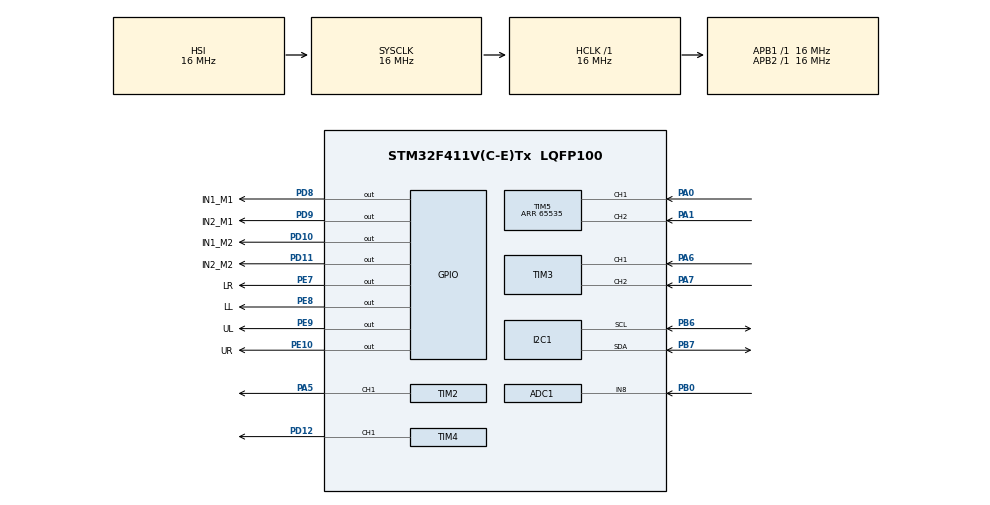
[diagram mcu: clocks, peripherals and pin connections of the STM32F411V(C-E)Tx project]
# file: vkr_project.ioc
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ADC1.Channel-3\#ChannelRegularConversion=ADC_CHANNEL_8
ADC1.NbrOfConversionFlag=1
ADC1.Rank-3\#ChannelRegularConversion=1
ADC1.SamplingTime-3\#ChannelRegularConversion=ADC_SAMPLETIME_3CYCLES
ADC1.master=1
Mcu.Family=STM32F4
Mcu.Name=STM32F411V(C-E)Tx
Mcu.Package=LQFP100
NVIC.PriorityGroup=NVIC_PRIORITYGROUP_4
NVIC.TIM1_UP_TIM10_IRQn=true\:0\:0\:false\:false\:true\:true\:true\:true
PA0-WKUP.Signal=S_TIM5_CH1
PA1.Signal=S_TIM5_CH2
PA13.Mode=Serial_Wire
PA13.Signal=SYS_JTMS-SWDIO
PA14.Mode=Serial_Wire
PA14.Signal=SYS_JTCK-SWCLK
PA5.Signal=S_TIM2_CH1_ETR
PA6.Signal=S_TIM3_CH1
PA7.Signal=S_TIM3_CH2
PB0.Signal=ADCx_IN8
PB6.Mode=I2C
PB6.Signal=I2C1_SCL
PB7.Mode=I2C
PB7.Signal=I2C1_SDA
PD10.GPIO_Label=IN1_M2
PD10.Signal=GPIO_Output
PD11.GPIO_Label=IN2_M2
PD11.Signal=GPIO_Output
PD12.Signal=S_TIM4_CH1
PD8.GPIO_Label=IN1_M1
PD8.Signal=GPIO_Output
PD9.GPIO_Label=IN2_M1
PD9.Signal=GPIO_Output
PE10.GPIO_Label=UR
PE10.Signal=GPIO_Output
PE7.GPIO_Label=LR
PE7.Signal=GPIO_Output
PE8.GPIO_Label=LL
PE8.Signal=GPIO_Output
PE9.GPIO_Label=UL
PE9.Signal=GPIO_Output
PH0\ -\ OSC_IN.Mode=HSE-External-Oscillator
PH0\ -\ OSC_IN.Signal=RCC_OSC_IN
PH1\ -\ OSC_OUT.Mode=HSE-External-Oscillator
PH1\ -\ OSC_OUT.Signal=RCC_OSC_OUT
ProjectManager.HeapSize=0x200
ProjectManager.StackSize=0x400
ProjectManager.TargetToolchain=STM32CubeIDE
RCC.AHBFreq_Value=16000000
RCC.APB1Freq_Value=16000000
RCC.APB2Freq_Value=16000000
RCC.CortexFreq_Value=16000000
RCC.HSE_VALUE=25000000
RCC.HSI_VALUE=16000000
RCC.LSE_VALUE=32768
RCC.SYSCLKFreq_VALUE=16000000
RCC.VCOOutputFreq_Value=192000000
SH.ADCx_IN8.0=ADC1_IN8,IN8
SH.S_TIM2_CH1_ETR.0=TIM2_CH1,PWM Generation1 CH1
SH.S_TIM3_CH1.0=TIM3_CH1,Encoder_Interface
SH.S_TIM3_CH2.0=TIM3_CH2,Encoder_Interface
SH.S_TIM4_CH1.0=TIM4_CH1,PWM Generation1 CH1
SH.S_TIM5_CH1.0=TIM5_CH1,Encoder_Interface
SH.S_TIM5_CH2.0=TIM5_CH2,Encoder_Interface
TIM1.Channel-Output\ Compare1\ No\ Output=TIM_CHANNEL_1
TIM1.Period=1599
TIM1.Prescaler=999
TIM2.Channel-PWM\ Generation1\ CH1=TIM_CHANNEL_1
TIM2.Period=799
TIM3.EncoderMode=TIM_ENCODERMODE_TI12
TIM4.Channel-PWM\ Generation1\ CH1=TIM_CHANNEL_1
TIM4.Period=799
TIM5.EncoderMode=TIM_ENCODERMODE_TI12
TIM5.Period=65535
VP_TIM1_VS_ClockSourceINT.Mode=Internal
VP_TIM1_VS_no_output1.Mode=Output Compare1 No Output
board=custom

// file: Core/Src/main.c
/* USER CODE BEGIN Header */
/**
  ******************************************************************************
  * @file           : main.c
  * @brief          : Main program body
  ******************************************************************************
  * @attention
  *
  * Copyright (c) 2025 STMicroelectronics.
  * All rights reserved.
  *
  * This software is licensed under terms that can be found in the LICENSE file
  * in the root directory of this software component.
  * If no LICENSE file comes with this software, it is provided AS-IS.
  *
  ******************************************************************************
  */
/* USER CODE END Header */
#include "main.h"

/* USER CODE BEGIN Includes */
#include "mpu6500.h"
#include "touch_5wire.h"
#include "Motor_Control.h"
/* USER CODE END Includes */

ADC_HandleTypeDef hadc1;

I2C_HandleTypeDef hi2c1;

TIM_HandleTypeDef htim1;
TIM_HandleTypeDef htim2;
TIM_HandleTypeDef htim3;
TIM_HandleTypeDef htim4;
TIM_HandleTypeDef htim5;

/* USER CODE BEGIN PV */

volatile int32_t x_goal, y_goal;
volatile int32_t err_x = 0, err_y = 0;
volatile int32_t err_alpha = 0, err_beta = 0;
volatile int32_t pos_control_signal_x, pos_control_signal_y, ang_control_signal_alpha, ang_control_signal_beta;
volatile float int_pos_x = 0, int_pos_y = 0, int_ang_alpha = 0, int_ang_beta = 0;

//Variable MPU
MPU6500_t mpu;
volatile float pitch, roll, yaw;
float alpha = 0.94;
float dt = 0.1;
volatile uint8_t state = 0;

//Variable touch screen
TOUCH_5WIRE_t Ts;
volatile uint8_t state_touch;
volatile int32_t position_x = 0, position_y = 0;

uint16_t length = 248;
uint16_t width = 186;
uint16_t min_adc_x = 1168;
uint16_t max_adc_x = 2933;
uint16_t min_adc_y = 1208;
uint16_t max_adc_y = 2985;

Motor_t Motor_1, Motor_2;
/* USER CODE END PV */

void SystemClock_Config(void);
static void MX_GPIO_Init(void);
static void MX_I2C1_Init(void);
static void MX_TIM1_Init(void);
static void MX_ADC1_Init(void);
static void MX_TIM2_Init(void);
static void MX_TIM3_Init(void);
static void MX_TIM4_Init(void);
static void MX_TIM5_Init(void);
/* USER CODE BEGIN PFP */
float PID_regulator(float err_n, float err_o, float int_var, float Kp, float Ki, float Kd, float dt);
/* USER CODE END PFP */

/* USER CODE BEGIN 0 */
float PID_regulator(float err_n, float err_o, float int_var, float Kp, float Ki, float Kd, float dt){
	float P = err_n*Kp;
	float D = Kd*(err_n - err_o)/dt;
	int_var += Ki*err_n*dt;
	err_o = err_n;
	return P + int_var + D;
}

/* USER CODE END 0 */

int main(void)
{

  /* MCU Configuration--------------------------------------------------------*/

  /* Reset of all peripherals, Initializes the Flash interface and the Systick. */
  HAL_Init();

  /* Configure the system clock */
  SystemClock_Config();

  /* Initialize all configured peripherals */
  MX_GPIO_Init();
  MX_I2C1_Init();
  MX_TIM1_Init();
  MX_ADC1_Init();
  MX_TIM2_Init();
  MX_TIM3_Init();
  MX_TIM4_Init();
  MX_TIM5_Init();
  /* USER CODE BEGIN 2 */
//Configure DC MOTOR A, B
 //A:
  HAL_TIM_PWM_Start(&htim2, TIM_CHANNEL_1);
  HAL_TIM_Encoder_Start(&htim3, TIM_CHANNEL_ALL);
//B:
  HAL_TIM_PWM_Start(&htim4, TIM_CHANNEL_1);
  HAL_TIM_Encoder_Start(&htim5, TIM_CHANNEL_ALL);

  //Initialize Motors
  Motor_Init(&Motor_1,
		  GPIOD, IN1_M1_Pin,
		  GPIOD, IN2_M1_Pin,
		  &htim2, TIM_CHANNEL_1,
		  &htim3);

  Motor_Init(&Motor_2,
		  GPIOD, IN1_M2_Pin,
		  GPIOD, IN2_M2_Pin,
		  &htim4, TIM_CHANNEL_1,
		  &htim5);

//Initialize touch screen
  touch_5wire_init(&Ts,
		  &hadc1, ADC_CHANNEL_8,
		  GPIOB, GPIO_PIN_0,
		  GPIOE, LR_Pin,
		  GPIOE, LL_Pin,
		  GPIOE, UR_Pin,
		  GPIOE, UL_Pin);

  Stop(&Motor_1);
  Stop(&Motor_2);
//Initialize MPU sensor
  HAL_TIM_Base_Start_IT(&htim1);
  MPU6500_Init(&hi2c1);
  MPU6500_Calibrate(&hi2c1, &mpu, 1000);
  HAL_Delay(1000);
  /* USER CODE END 2 */

  /* Infinite loop */
  /* USER CODE BEGIN WHILE */
  while (1)
  {
	  MPU6500_Read_Data(&hi2c1, &mpu);
	  state_touch = touch_detect(&Ts);
	  if (state_touch == 1){
		  set_to_adc(&Ts);
//		  HAL_Delay(10);
		  position_x = get_position_x(&Ts, min_adc_x, max_adc_x, length);
		  position_y = get_position_y(&Ts, min_adc_y, max_adc_y, width);
	  }
	  //Control motor
	  Control_Motor(&Motor_1, ang_control_signal_alpha);
	  Control_Motor(&Motor_2, ang_control_signal_beta);

    /* USER CODE END WHILE */

  }
}

void SystemClock_Config(void)
{
  RCC_OscInitTypeDef RCC_OscInitStruct = {0};
  RCC_ClkInitTypeDef RCC_ClkInitStruct = {0};

  /** Configure the main internal regulator output voltage
  */
  __HAL_RCC_PWR_CLK_ENABLE();
  __HAL_PWR_VOLTAGESCALING_CONFIG(PWR_REGULATOR_VOLTAGE_SCALE1);

  /** Initializes the RCC Oscillators according to the specified parameters
  * in the RCC_OscInitTypeDef structure.
  */
  RCC_OscInitStruct.OscillatorType = RCC_OSCILLATORTYPE_HSI;
  RCC_OscInitStruct.HSIState = RCC_HSI_ON;
  RCC_OscInitStruct.HSICalibrationValue = RCC_HSICALIBRATION_DEFAULT;
  RCC_OscInitStruct.PLL.PLLState = RCC_PLL_NONE;
  if (HAL_RCC_OscConfig(&RCC_OscInitStruct) != HAL_OK)
  {
    Error_Handler();
  }

  /** Initializes the CPU, AHB and APB buses clocks
  */
  RCC_ClkInitStruct.ClockType = RCC_CLOCKTYPE_HCLK|RCC_CLOCKTYPE_SYSCLK
                              |RCC_CLOCKTYPE_PCLK1|RCC_CLOCKTYPE_PCLK2;
  RCC_ClkInitStruct.SYSCLKSource = RCC_SYSCLKSOURCE_HSI;
  RCC_ClkInitStruct.AHBCLKDivider = RCC_SYSCLK_DIV1;
  RCC_ClkInitStruct.APB1CLKDivider = RCC_HCLK_DIV1;
  RCC_ClkInitStruct.APB2CLKDivider = RCC_HCLK_DIV1;

  if (HAL_RCC_ClockConfig(&RCC_ClkInitStruct, FLASH_LATENCY_0) != HAL_OK)
  {
    Error_Handler();
  }
}

static void MX_ADC1_Init(void)
{

  ADC_ChannelConfTypeDef sConfig = {0};

  /** Configure the global features of the ADC (Clock, Resolution, Data Alignment and number of conversion)
  */
  hadc1.Instance = ADC1;
  hadc1.Init.ClockPrescaler = ADC_CLOCK_SYNC_PCLK_DIV2;
  hadc1.Init.Resolution = ADC_RESOLUTION_12B;
  hadc1.Init.ScanConvMode = DISABLE;
  hadc1.Init.ContinuousConvMode = DISABLE;
  hadc1.Init.DiscontinuousConvMode = DISABLE;
  hadc1.Init.ExternalTrigConvEdge = ADC_EXTERNALTRIGCONVEDGE_NONE;
  hadc1.Init.ExternalTrigConv = ADC_SOFTWARE_START;
  hadc1.Init.DataAlign = ADC_DATAALIGN_RIGHT;
  hadc1.Init.NbrOfConversion = 1;
  hadc1.Init.DMAContinuousRequests = DISABLE;
  hadc1.Init.EOCSelection = ADC_EOC_SINGLE_CONV;
  if (HAL_ADC_Init(&hadc1) != HAL_OK)
  {
    Error_Handler();
  }

  /** Configure for the selected ADC regular channel its corresponding rank in the sequencer and its sample time.
  */
  sConfig.Channel = ADC_CHANNEL_8;
  sConfig.Rank = 1;
  sConfig.SamplingTime = ADC_SAMPLETIME_3CYCLES;
  if (HAL_ADC_ConfigChannel(&hadc1, &sConfig) != HAL_OK)
  {
    Error_Handler();
  }

}

static void MX_I2C1_Init(void)
{

  hi2c1.Instance = I2C1;
  hi2c1.Init.ClockSpeed = 100000;
  hi2c1.Init.DutyCycle = I2C_DUTYCYCLE_2;
  hi2c1.Init.OwnAddress1 = 0;
  hi2c1.Init.AddressingMode = I2C_ADDRESSINGMODE_7BIT;
  hi2c1.Init.DualAddressMode = I2C_DUALADDRESS_DISABLE;
  hi2c1.Init.OwnAddress2 = 0;
  hi2c1.Init.GeneralCallMode = I2C_GENERALCALL_DISABLE;
  hi2c1.Init.NoStretchMode = I2C_NOSTRETCH_DISABLE;
  if (HAL_I2C_Init(&hi2c1) != HAL_OK)
  {
    Error_Handler();
  }

}

static void MX_TIM1_Init(void)
{

  TIM_ClockConfigTypeDef sClockSourceConfig = {0};
  TIM_MasterConfigTypeDef sMasterConfig = {0};
  TIM_OC_InitTypeDef sConfigOC = {0};
  TIM_BreakDeadTimeConfigTypeDef sBreakDeadTimeConfig = {0};

  htim1.Instance = TIM1;
  htim1.Init.Prescaler = 999;
  htim1.Init.CounterMode = TIM_COUNTERMODE_UP;
  htim1.Init.Period = 1599;
  htim1.Init.ClockDivision = TIM_CLOCKDIVISION_DIV1;
  htim1.Init.RepetitionCounter = 0;
  htim1.Init.AutoReloadPreload = TIM_AUTORELOAD_PRELOAD_DISABLE;
  if (HAL_TIM_Base_Init(&htim1) != HAL_OK)
  {
    Error_Handler();
  }
  sClockSourceConfig.ClockSource = TIM_CLOCKSOURCE_INTERNAL;
  if (HAL_TIM_ConfigClockSource(&htim1, &sClockSourceConfig) != HAL_OK)
  {
    Error_Handler();
  }
  if (HAL_TIM_OC_Init(&htim1) != HAL_OK)
  {
    Error_Handler();
  }
  sMasterConfig.MasterOutputTrigger = TIM_TRGO_RESET;
  sMasterConfig.MasterSlaveMode = TIM_MASTERSLAVEMODE_DISABLE;
  if (HAL_TIMEx_MasterConfigSynchronization(&htim1, &sMasterConfig) != HAL_OK)
  {
    Error_Handler();
  }
  sConfigOC.OCMode = TIM_OCMODE_TIMING;
  sConfigOC.Pulse = 0;
  sConfigOC.OCPolarity = TIM_OCPOLARITY_HIGH;
  sConfigOC.OCNPolarity = TIM_OCNPOLARITY_HIGH;
  sConfigOC.OCFastMode = TIM_OCFAST_DISABLE;
  sConfigOC.OCIdleState = TIM_OCIDLESTATE_RESET;
  sConfigOC.OCNIdleState = TIM_OCNIDLESTATE_RESET;
  if (HAL_TIM_OC_ConfigChannel(&htim1, &sConfigOC, TIM_CHANNEL_1) != HAL_OK)
  {
    Error_Handler();
  }
  sBreakDeadTimeConfig.OffStateRunMode = TIM_OSSR_DISABLE;
  sBreakDeadTimeConfig.OffStateIDLEMode = TIM_OSSI_DISABLE;
  sBreakDeadTimeConfig.LockLevel = TIM_LOCKLEVEL_OFF;
  sBreakDeadTimeConfig.DeadTime = 0;
  sBreakDeadTimeConfig.BreakState = TIM_BREAK_DISABLE;
  sBreakDeadTimeConfig.BreakPolarity = TIM_BREAKPOLARITY_HIGH;
  sBreakDeadTimeConfig.AutomaticOutput = TIM_AUTOMATICOUTPUT_DISABLE;
  if (HAL_TIMEx_ConfigBreakDeadTime(&htim1, &sBreakDeadTimeConfig) != HAL_OK)
  {
    Error_Handler();
  }

}

static void MX_TIM2_Init(void)
{

  TIM_MasterConfigTypeDef sMasterConfig = {0};
  TIM_OC_InitTypeDef sConfigOC = {0};

  htim2.Instance = TIM2;
  htim2.Init.Prescaler = 0;
  htim2.Init.CounterMode = TIM_COUNTERMODE_UP;
  htim2.Init.Period = 799;
  htim2.Init.ClockDivision = TIM_CLOCKDIVISION_DIV1;
  htim2.Init.AutoReloadPreload = TIM_AUTORELOAD_PRELOAD_DISABLE;
  if (HAL_TIM_PWM_Init(&htim2) != HAL_OK)
  {
    Error_Handler();
  }
  sMasterConfig.MasterOutputTrigger = TIM_TRGO_RESET;
  sMasterConfig.MasterSlaveMode = TIM_MASTERSLAVEMODE_DISABLE;
  if (HAL_TIMEx_MasterConfigSynchronization(&htim2, &sMasterConfig) != HAL_OK)
  {
    Error_Handler();
  }
  sConfigOC.OCMode = TIM_OCMODE_PWM1;
  sConfigOC.Pulse = 0;
  sConfigOC.OCPolarity = TIM_OCPOLARITY_HIGH;
  sConfigOC.OCFastMode = TIM_OCFAST_DISABLE;
  if (HAL_TIM_PWM_ConfigChannel(&htim2, &sConfigOC, TIM_CHANNEL_1) != HAL_OK)
  {
    Error_Handler();
  }
  HAL_TIM_MspPostInit(&htim2);

}

static void MX_TIM3_Init(void)
{

  TIM_Encoder_InitTypeDef sConfig = {0};
  TIM_MasterConfigTypeDef sMasterConfig = {0};

  htim3.Instance = TIM3;
  htim3.Init.Prescaler = 0;
  htim3.Init.CounterMode = TIM_COUNTERMODE_UP;
  htim3.Init.Period = 65535;
  htim3.Init.ClockDivision = TIM_CLOCKDIVISION_DIV1;
  htim3.Init.AutoReloadPreload = TIM_AUTORELOAD_PRELOAD_DISABLE;
  sConfig.EncoderMode = TIM_ENCODERMODE_TI12;
  sConfig.IC1Polarity = TIM_ICPOLARITY_RISING;
  sConfig.IC1Selection = TIM_ICSELECTION_DIRECTTI;
  sConfig.IC1Prescaler = TIM_ICPSC_DIV1;
  sConfig.IC1Filter = 0;
  sConfig.IC2Polarity = TIM_ICPOLARITY_RISING;
  sConfig.IC2Selection = TIM_ICSELECTION_DIRECTTI;
  sConfig.IC2Prescaler = TIM_ICPSC_DIV1;
  sConfig.IC2Filter = 0;
  if (HAL_TIM_Encoder_Init(&htim3, &sConfig) != HAL_OK)
  {
    Error_Handler();
  }
  sMasterConfig.MasterOutputTrigger = TIM_TRGO_RESET;
  sMasterConfig.MasterSlaveMode = TIM_MASTERSLAVEMODE_DISABLE;
  if (HAL_TIMEx_MasterConfigSynchronization(&htim3, &sMasterConfig) != HAL_OK)
  {
    Error_Handler();
  }

}

static void MX_TIM4_Init(void)
{

  TIM_MasterConfigTypeDef sMasterConfig = {0};
  TIM_OC_InitTypeDef sConfigOC = {0};

  htim4.Instance = TIM4;
  htim4.Init.Prescaler = 0;
  htim4.Init.CounterMode = TIM_COUNTERMODE_UP;
  htim4.Init.Period = 799;
  htim4.Init.ClockDivision = TIM_CLOCKDIVISION_DIV1;
  htim4.Init.AutoReloadPreload = TIM_AUTORELOAD_PRELOAD_DISABLE;
  if (HAL_TIM_PWM_Init(&htim4) != HAL_OK)
  {
    Error_Handler();
  }
  sMasterConfig.MasterOutputTrigger = TIM_TRGO_RESET;
  sMasterConfig.MasterSlaveMode = TIM_MASTERSLAVEMODE_DISABLE;
  if (HAL_TIMEx_MasterConfigSynchronization(&htim4, &sMasterConfig) != HAL_OK)
  {
    Error_Handler();
  }
  sConfigOC.OCMode = TIM_OCMODE_PWM1;
  sConfigOC.Pulse = 0;
  sConfigOC.OCPolarity = TIM_OCPOLARITY_HIGH;
  sConfigOC.OCFastMode = TIM_OCFAST_DISABLE;
  if (HAL_TIM_PWM_ConfigChannel(&htim4, &sConfigOC, TIM_CHANNEL_1) != HAL_OK)
  {
    Error_Handler();
  }
  HAL_TIM_MspPostInit(&htim4);

}

static void MX_TIM5_Init(void)
{

  TIM_Encoder_InitTypeDef sConfig = {0};
  TIM_MasterConfigTypeDef sMasterConfig = {0};

  htim5.Instance = TIM5;
  htim5.Init.Prescaler = 0;
  htim5.Init.CounterMode = TIM_COUNTERMODE_UP;
  htim5.Init.Period = 65535;
  htim5.Init.ClockDivision = TIM_CLOCKDIVISION_DIV1;
  htim5.Init.AutoReloadPreload = TIM_AUTORELOAD_PRELOAD_DISABLE;
  sConfig.EncoderMode = TIM_ENCODERMODE_TI12;
  sConfig.IC1Polarity = TIM_ICPOLARITY_RISING;
  sConfig.IC1Selection = TIM_ICSELECTION_DIRECTTI;
  sConfig.IC1Prescaler = TIM_ICPSC_DIV1;
  sConfig.IC1Filter = 0;
  sConfig.IC2Polarity = TIM_ICPOLARITY_RISING;
  sConfig.IC2Selection = TIM_ICSELECTION_DIRECTTI;
  sConfig.IC2Prescaler = TIM_ICPSC_DIV1;
  sConfig.IC2Filter = 0;
  if (HAL_TIM_Encoder_Init(&htim5, &sConfig) != HAL_OK)
  {
    Error_Handler();
  }
  sMasterConfig.MasterOutputTrigger = TIM_TRGO_RESET;
  sMasterConfig.MasterSlaveMode = TIM_MASTERSLAVEMODE_DISABLE;
  if (HAL_TIMEx_MasterConfigSynchronization(&htim5, &sMasterConfig) != HAL_OK)
  {
    Error_Handler();
  }

}

static void MX_GPIO_Init(void)
{
  GPIO_InitTypeDef GPIO_InitStruct = {0};

  /* GPIO Ports Clock Enable */
  __HAL_RCC_GPIOH_CLK_ENABLE();
  __HAL_RCC_GPIOA_CLK_ENABLE();
  __HAL_RCC_GPIOB_CLK_ENABLE();
  __HAL_RCC_GPIOE_CLK_ENABLE();
  __HAL_RCC_GPIOD_CLK_ENABLE();

  /*Configure GPIO pin Output Level */
  HAL_GPIO_WritePin(GPIOE, LR_Pin|LL_Pin|UL_Pin|UR_Pin, GPIO_PIN_RESET);

  /*Configure GPIO pin Output Level */
  HAL_GPIO_WritePin(GPIOD, IN1_M1_Pin|IN2_M1_Pin|IN1_M2_Pin|IN2_M2_Pin, GPIO_PIN_RESET);

  /*Configure GPIO pins : LR_Pin LL_Pin UL_Pin UR_Pin */
  GPIO_InitStruct.Pin = LR_Pin|LL_Pin|UL_Pin|UR_Pin;
  GPIO_InitStruct.Mode = GPIO_MODE_OUTPUT_PP;
  GPIO_InitStruct.Pull = GPIO_NOPULL;
  GPIO_InitStruct.Speed = GPIO_SPEED_FREQ_LOW;
  HAL_GPIO_Init(GPIOE, &GPIO_InitStruct);

  /*Configure GPIO pins : IN1_M1_Pin IN2_M1_Pin IN1_M2_Pin IN2_M2_Pin */
  GPIO_InitStruct.Pin = IN1_M1_Pin|IN2_M1_Pin|IN1_M2_Pin|IN2_M2_Pin;
  GPIO_InitStruct.Mode = GPIO_MODE_OUTPUT_PP;
  GPIO_InitStruct.Pull = GPIO_NOPULL;
  GPIO_InitStruct.Speed = GPIO_SPEED_FREQ_LOW;
  HAL_GPIO_Init(GPIOD, &GPIO_InitStruct);

}

void Error_Handler(void)
{
  __disable_irq();
  while (1)
  {
  }
}
